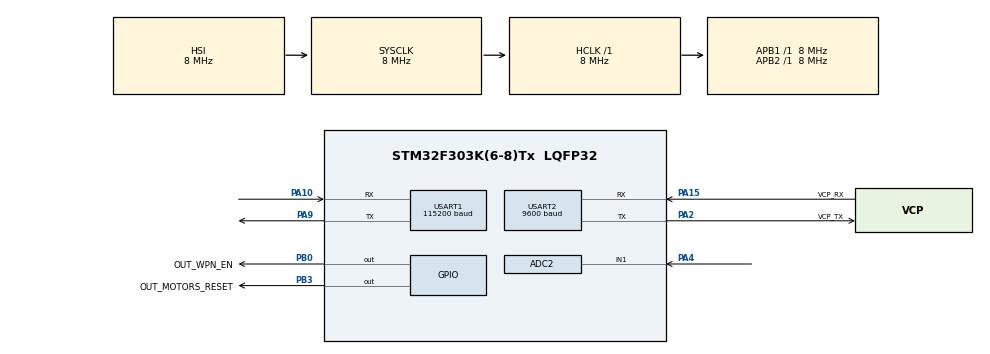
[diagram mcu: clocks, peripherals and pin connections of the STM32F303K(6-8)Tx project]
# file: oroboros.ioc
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ADC2.Channel-0\#ChannelRegularConversion=ADC_CHANNEL_1
ADC2.NbrOfConversionFlag=1
ADC2.Offset-0\#ChannelRegularConversion=0
ADC2.OffsetNumber-0\#ChannelRegularConversion=ADC_OFFSET_NONE
ADC2.Rank-0\#ChannelRegularConversion=1
ADC2.SamplingTime-0\#ChannelRegularConversion=ADC_SAMPLETIME_19CYCLES_5
ADC2.SubFamily=STM32F303x8
Mcu.Family=STM32F3
Mcu.Name=STM32F303K(6-8)Tx
Mcu.Package=LQFP32
NVIC.PriorityGroup=NVIC_PRIORITYGROUP_4
NVIC.USART1_IRQn=true\:0\:0\:false\:false\:true\:true
PA10.Mode=Asynchronous
PA10.Signal=USART1_RX
PA13.GPIO_Label=SWDIO
PA13.Mode=Serial_Wire
PA13.Signal=SYS_JTMS-SWDIO
PA14.GPIO_Label=SWCLK
PA14.Mode=Serial_Wire
PA14.Signal=SYS_JTCK-SWCLK
PA15.GPIO_Label=VCP_RX
PA15.Mode=Asynchronous
PA15.Signal=USART2_RX
PA2.GPIO_Label=VCP_TX
PA2.Mode=Asynchronous
PA2.Signal=USART2_TX
PA4.Mode=IN1-Single-Ended
PA4.Signal=ADC2_IN1
PA9.Mode=Asynchronous
PA9.Signal=USART1_TX
PB0.GPIO_Label=OUT_WPN_EN
PB0.Signal=GPIO_Output
PB3.GPIO_Label=OUT_MOTORS_RESET
PB3.Signal=GPIO_Output
ProjectManager.HeapSize=0x200
ProjectManager.StackSize=0x400
ProjectManager.TargetToolchain=TrueSTUDIO
RCC.AHBFreq_Value=8000000
RCC.APB1Freq_Value=8000000
RCC.APB2Freq_Value=8000000
RCC.CortexFreq_Value=8000000
RCC.HSE_VALUE=8000000
RCC.HSI_VALUE=8000000
RCC.PLLMUL=RCC_PLL_MUL4
RCC.SYSCLKFreq_VALUE=8000000
USART1.BaudRate=115200
USART1.MSBFirstParam=ADVFEATURE_MSBFIRST_DISABLE
USART1.VirtualMode-Asynchronous=VM_ASYNC
USART1.WordLength=WORDLENGTH_8B
USART2.BaudRate=9600
USART2.VirtualMode-Asynchronous=VM_ASYNC
USART2.WordLength=WORDLENGTH_8B
board=NUCLEO-F303K8

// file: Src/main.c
/**
  ******************************************************************************
  * @file           : main.c
  * @brief          : Main program body
  ******************************************************************************
  ** This notice applies to any and all portions of this file
  * that are not between comment pairs USER CODE BEGIN and
  * USER CODE END. Other portions of this file, whether
  * inserted by the user or by software development tools
  * are owned by their respective copyright owners.
  *
  * COPYRIGHT(c) 2019 STMicroelectronics
  *
  * Redistribution and use in source and binary forms, with or without modification,
  * are permitted provided that the following conditions are met:
  *   1. Redistributions of source code must retain the above copyright notice,
  *      this list of conditions and the following disclaimer.
  *   2. Redistributions in binary form must reproduce the above copyright notice,
  *      this list of conditions and the following disclaimer in the documentation
  *      and/or other materials provided with the distribution.
  *   3. Neither the name of STMicroelectronics nor the names of its contributors
  *      may be used to endorse or promote products derived from this software
  *      without specific prior written permission.
  *
  * THIS SOFTWARE IS PROVIDED BY THE COPYRIGHT HOLDERS AND CONTRIBUTORS "AS IS"
  * AND ANY EXPRESS OR IMPLIED WARRANTIES, INCLUDING, BUT NOT LIMITED TO, THE
  * IMPLIED WARRANTIES OF MERCHANTABILITY AND FITNESS FOR A PARTICULAR PURPOSE ARE
  * DISCLAIMED. IN NO EVENT SHALL THE COPYRIGHT HOLDER OR CONTRIBUTORS BE LIABLE
  * FOR ANY DIRECT, INDIRECT, INCIDENTAL, SPECIAL, EXEMPLARY, OR CONSEQUENTIAL
  * DAMAGES (INCLUDING, BUT NOT LIMITED TO, PROCUREMENT OF SUBSTITUTE GOODS OR
  * SERVICES; LOSS OF USE, DATA, OR PROFITS; OR BUSINESS INTERRUPTION) HOWEVER
  * CAUSED AND ON ANY THEORY OF LIABILITY, WHETHER IN CONTRACT, STRICT LIABILITY,
  * OR TORT (INCLUDING NEGLIGENCE OR OTHERWISE) ARISING IN ANY WAY OUT OF THE USE
  * OF THIS SOFTWARE, EVEN IF ADVISED OF THE POSSIBILITY OF SUCH DAMAGE.
  *
  ******************************************************************************
  */
#include "main.h"
#include "stm32f3xx_hal.h"
#include "adc.h"
#include "usart.h"
#include "gpio.h"

/* USER CODE BEGIN Includes */

#include "control_state.h"

#include "weapon.h"
#include "motors.h"

#define AXIS_MID 1500

#define FLAG_HAS_2 (1 << 0)
#define FLAG_HAS_4 (1 << 1)
#define FLAG_HAS_FINAL (1 << 2)

volatile uint8_t itbuff[40] = { 0 };
volatile uint8_t flags = 0;

void HAL_UART_RxCpltCallback(UART_HandleTypeDef* uart)
{
  if (!flags)
  {
    if (itbuff[0] == 0x20)
    {
      flags = FLAG_HAS_2;
      HAL_UART_Receive_IT(uart, itbuff + 1, 1);
    }
    else
    {
      HAL_UART_Receive_IT(uart, itbuff, 1);
    }
  }
  else if (flags == FLAG_HAS_2)
  {
    if (itbuff[1] != 0x40)
    {
      flags = 0;
      HAL_UART_Receive_IT(uart, itbuff, 1);
    }
    else
    {
      flags = FLAG_HAS_4;
      HAL_UART_Receive_IT(uart, itbuff + 2, 30);
    }
  }
  else
  {
    flags = FLAG_HAS_FINAL;
  }
}

void HAL_UART_TxCpltCallback(UART_HandleTypeDef* uart)
{
  __NOP();
}

/* USER CODE END Includes */

/* USER CODE BEGIN PV */
/* Private variables ---------------------------------------------------------*/

/* USER CODE END PV */

void SystemClock_Config(void);

/* USER CODE BEGIN PFP */
/* Private function prototypes -----------------------------------------------*/

ReceiverState_t HandleReceiverMessage();
void CheckUartInterruptStatus();
void HandleMotorsUpdate(ControlState_t* ctrl_state, ReceiverState_t* commands, PER_Motors_t* motors);
void HandleWeaponsUpdate(ControlState_t* ctrl_state, PER_Weapon_t* wpn);
void ActivateRobot(PER_Motors_t* motors);
void DeactivateRobot(PER_Motors_t* motors, PER_Weapon_t* wpn);
/* USER CODE END PFP */

int main(void)
{

  /* MCU Configuration----------------------------------------------------------*/

  /* Reset of all peripherals, Initializes the Flash interface and the Systick. */
  HAL_Init();

  /* Configure the system clock */
  SystemClock_Config();

  /* Initialize all configured peripherals */
  MX_GPIO_Init();
  MX_USART2_UART_Init();
  MX_USART1_UART_Init();
  MX_ADC2_Init();
  /* USER CODE BEGIN 2 */

  HAL_UART_Init(&huart2);
  HAL_UART_Init(&huart1);
  HAL_UART_Receive_IT(&huart1, itbuff, 1);

  HAL_ADC_Start(&hadc2);

  PER_IOPair_t wpn_io = {
      .port = OUT_WPN_EN_GPIO_Port,
      .pin = OUT_WPN_EN_Pin
  };

  PER_Weapon_t weapon = PER_Weapon_Init(wpn_io);
  PER_Motors_t motors = PER_Motors_Init(&huart2, 128);
  ControlState_t current_state = InitializeControlState();

  while (flags != FLAG_HAS_FINAL);

  /* USER CODE END 2 */

  /* Infinite loop */
  /* USER CODE BEGIN WHILE */
  while (1)
  {
    bool has_new_commands = false;
    ReceiverState_t new_commands = { 0 };

    if (flags == FLAG_HAS_FINAL)
    {
       new_commands = HandleReceiverMessage();
       has_new_commands = true;
    }
    else
    {
      CheckUartInterruptStatus();
    }

    if (RequiresConnectionCheck(&current_state))
    {
      if (!DoConnectionCheck(&current_state))
      {
        if (current_state.robot_active)
        {
          DeactivateRobot(&motors, &weapon);
          current_state.robot_active = false;
          current_state.engines_active = false;
          current_state.weapon_active = false;
        }

        continue;
      }
    }

    if (!has_new_commands)
      continue;

    if (current_state.robot_active)
    {
      PER_Motors_Process(&motors);
      PER_Weapon_Process(&weapon);

      ApplyControlState(&current_state, &new_commands);

      if (new_commands.switch_c == ReceiverSwitchUp)
      {
        DeactivateRobot(&motors, &weapon);
        continue;
      }

      HandleMotorsUpdate(&current_state, &new_commands, &motors);

      HandleWeaponsUpdate(&current_state, &weapon);
    }
    else
    {
      ApplyControlState(&current_state, &new_commands);

      if (new_commands.switch_c == ReceiverSwitchDown)
        ActivateRobot(&motors);
    }
  /* USER CODE END WHILE */

  }

}

void SystemClock_Config(void)
{

  RCC_OscInitTypeDef RCC_OscInitStruct;
  RCC_ClkInitTypeDef RCC_ClkInitStruct;
  RCC_PeriphCLKInitTypeDef PeriphClkInit;

    /**Initializes the CPU, AHB and APB busses clocks
    */
  RCC_OscInitStruct.OscillatorType = RCC_OSCILLATORTYPE_HSI;
  RCC_OscInitStruct.HSIState = RCC_HSI_ON;
  RCC_OscInitStruct.HSICalibrationValue = 16;
  RCC_OscInitStruct.PLL.PLLState = RCC_PLL_ON;
  RCC_OscInitStruct.PLL.PLLSource = RCC_PLLSOURCE_HSI;
  RCC_OscInitStruct.PLL.PLLMUL = RCC_PLL_MUL4;
  if (HAL_RCC_OscConfig(&RCC_OscInitStruct) != HAL_OK)
  {
    _Error_Handler(__FILE__, __LINE__);
  }

    /**Initializes the CPU, AHB and APB busses clocks
    */
  RCC_ClkInitStruct.ClockType = RCC_CLOCKTYPE_HCLK|RCC_CLOCKTYPE_SYSCLK
                              |RCC_CLOCKTYPE_PCLK1|RCC_CLOCKTYPE_PCLK2;
  RCC_ClkInitStruct.SYSCLKSource = RCC_SYSCLKSOURCE_HSI;
  RCC_ClkInitStruct.AHBCLKDivider = RCC_SYSCLK_DIV1;
  RCC_ClkInitStruct.APB1CLKDivider = RCC_HCLK_DIV1;
  RCC_ClkInitStruct.APB2CLKDivider = RCC_HCLK_DIV1;

  if (HAL_RCC_ClockConfig(&RCC_ClkInitStruct, FLASH_LATENCY_0) != HAL_OK)
  {
    _Error_Handler(__FILE__, __LINE__);
  }

  PeriphClkInit.PeriphClockSelection = RCC_PERIPHCLK_USART1|RCC_PERIPHCLK_ADC12;
  PeriphClkInit.Usart1ClockSelection = RCC_USART1CLKSOURCE_PCLK1;
  PeriphClkInit.Adc12ClockSelection = RCC_ADC12PLLCLK_DIV1;
  if (HAL_RCCEx_PeriphCLKConfig(&PeriphClkInit) != HAL_OK)
  {
    _Error_Handler(__FILE__, __LINE__);
  }

    /**Configure the Systick interrupt time
    */
  HAL_SYSTICK_Config(HAL_RCC_GetHCLKFreq()/1000);

    /**Configure the Systick
    */
  HAL_SYSTICK_CLKSourceConfig(SYSTICK_CLKSOURCE_HCLK);

  /* SysTick_IRQn interrupt configuration */
  HAL_NVIC_SetPriority(SysTick_IRQn, 0, 0);
}

/* USER CODE BEGIN 4 */

ReceiverState_t HandleReceiverMessage()
{
  ReceiverState_t rec = DecodeReceiverState(itbuff);

  flags = 0;

  for (uint8_t i = 0; i < 40; i++)
  {
    itbuff[i] = 0;
  }

  HAL_UART_Receive_IT(&huart1, itbuff, 1);

  return rec;
}

void CheckUartInterruptStatus()
{
  uint8_t uart_status = HAL_UART_GetState(&huart1);

  if (uart_status == 32)
  {
    flags = 0;
    HAL_UART_Receive_IT(&huart1, itbuff, 1);
  }
}

int16_t CalculateRobotSpeed(ReceiverState_t* commands)
{
  return commands->right_vertical - AXIS_MID;
}

int16_t CalculateRobotTurn(ReceiverState_t* commands)
{
  return commands->right_horizontal - AXIS_MID;
}

void HandleMotorsUpdate(ControlState_t* ctrl_state, ReceiverState_t* commands, PER_Motors_t* motors)
{
  if (ctrl_state->engines_active)
  {
    int16_t new_speed = CalculateRobotSpeed(commands);
    int16_t new_turn = CalculateRobotTurn(commands);

    PER_Motors_SetTarget(motors, new_speed, new_turn);
  }
  else
  {
    PER_Motors_SetTarget(motors, 0, 0);
  }
}

void HandleWeaponsUpdate(ControlState_t* ctrl_state, PER_Weapon_t* wpn)
{
  if (ctrl_state->weapon_active && !wpn->is_active)
    PER_Weapon_Enable(wpn);
  else if (!ctrl_state->weapon_active && wpn->is_active)
    PER_Weapon_Disable(wpn);
}

void ActivateRobot(PER_Motors_t* motors)
{
  HAL_GPIO_WritePin(OUT_MOTORS_RESET_GPIO_Port, OUT_MOTORS_RESET_Pin, GPIO_PIN_SET);

  HAL_Delay(5000);

  PER_Motors_Activate(motors);
}

void DeactivateRobot(PER_Motors_t* motors, PER_Weapon_t* wpn)
{
  PER_Weapon_Disable(wpn);
  PER_Motors_Stop(motors);

  HAL_Delay(500);

  HAL_GPIO_WritePin(OUT_MOTORS_RESET_GPIO_Port, OUT_MOTORS_RESET_Pin, GPIO_PIN_RESET);
}

/* USER CODE END 4 */

void _Error_Handler(char *file, int line)
{
  while(1)
  {
  }
}

/************************ (C) COPYRIGHT STMicroelectronics *****END OF FILE****/
